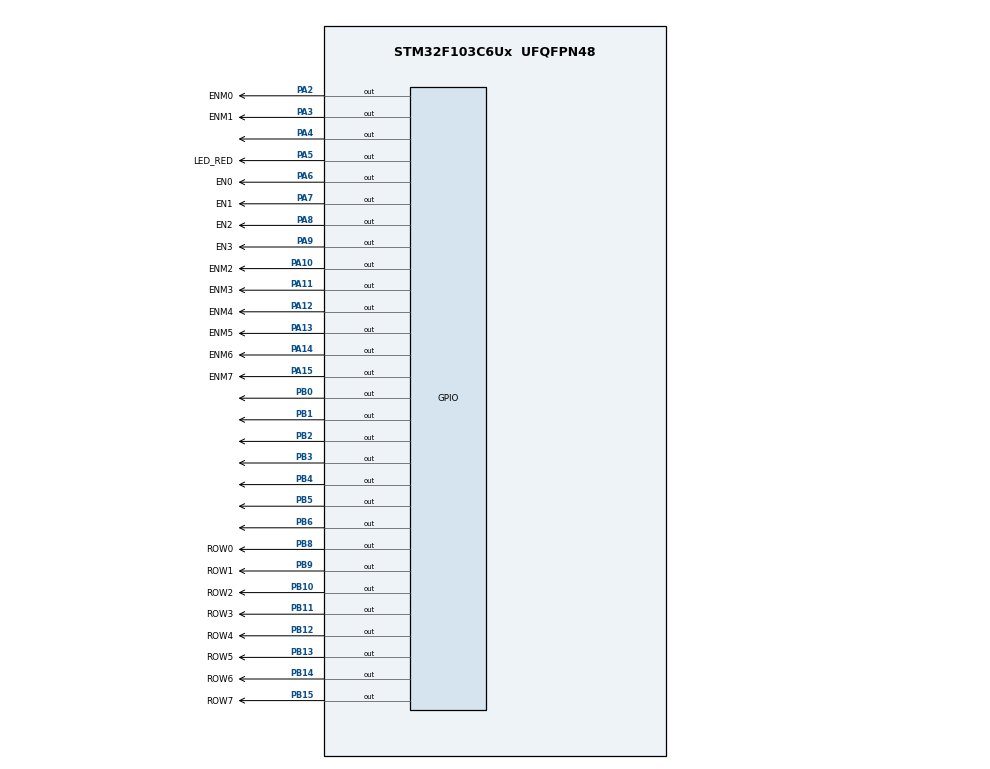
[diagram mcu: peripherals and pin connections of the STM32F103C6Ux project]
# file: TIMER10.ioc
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Mcu.Family=STM32F1
Mcu.Name=STM32F103C6Ux
Mcu.Package=UFQFPN48
NVIC.PriorityGroup=NVIC_PRIORITYGROUP_4
NVIC.TIM2_IRQn=true\:0\:0\:false\:false\:true\:true\:true
PA10.GPIO_Label=ENM2
PA10.Signal=GPIO_Output
PA11.GPIO_Label=ENM3
PA11.Signal=GPIO_Output
PA12.GPIO_Label=ENM4
PA12.Signal=GPIO_Output
PA13.GPIO_Label=ENM5
PA13.Signal=GPIO_Output
PA14.GPIO_Label=ENM6
PA14.Signal=GPIO_Output
PA15.GPIO_Label=ENM7
PA15.Signal=GPIO_Output
PA2.GPIO_Label=ENM0
PA2.Signal=GPIO_Output
PA3.GPIO_Label=ENM1
PA3.Signal=GPIO_Output
PA4.Signal=GPIO_Output
PA5.GPIO_Label=LED_RED
PA5.Signal=GPIO_Output
PA6.GPIO_Label=EN0
PA6.Signal=GPIO_Output
PA7.GPIO_Label=EN1
PA7.Signal=GPIO_Output
PA8.GPIO_Label=EN2
PA8.Signal=GPIO_Output
PA9.GPIO_Label=EN3
PA9.Signal=GPIO_Output
PB0.Signal=GPIO_Output
PB1.Signal=GPIO_Output
PB10.GPIO_Label=ROW2
PB10.Signal=GPIO_Output
PB11.GPIO_Label=ROW3
PB11.Signal=GPIO_Output
PB12.GPIO_Label=ROW4
PB12.Signal=GPIO_Output
PB13.GPIO_Label=ROW5
PB13.Signal=GPIO_Output
PB14.GPIO_Label=ROW6
PB14.Signal=GPIO_Output
PB15.GPIO_Label=ROW7
PB15.Signal=GPIO_Output
PB2.Signal=GPIO_Output
PB3.Signal=GPIO_Output
PB4.Signal=GPIO_Output
PB5.Signal=GPIO_Output
PB6.Signal=GPIO_Output
PB8.GPIO_Label=ROW0
PB8.Signal=GPIO_Output
PB9.GPIO_Label=ROW1
PB9.Signal=GPIO_Output
ProjectManager.HeapSize=0x200
ProjectManager.StackSize=0x400
ProjectManager.TargetToolchain=STM32CubeIDE
RCC.APB1Freq_Value=8000000
RCC.APB2Freq_Value=8000000
TIM2.Period=9
TIM2.Prescaler=7999
VP_SYS_VS_ND.Mode=No_Debug
VP_TIM2_VS_ClockSourceINT.Mode=Internal
board=custom

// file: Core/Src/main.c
/* USER CODE BEGIN Header */
/**
  ******************************************************************************
  * @file           : main.c
  * @brief          : Main program body
  ******************************************************************************
  * @attention
  *
  * Copyright (c) 2025 STMicroelectronics.
  * All rights reserved.
  *
  * This software is licensed under terms that can be found in the LICENSE file
  * in the root directory of this software component.
  * If no LICENSE file comes with this software, it is provided AS-IS.
  *
  ******************************************************************************
  */
/* USER CODE END Header */
#include "main.h"

TIM_HandleTypeDef htim2;

void SystemClock_Config(void);
static void MX_GPIO_Init(void);
static void MX_TIM2_Init(void);

/* USER CODE BEGIN 0 */
void display7SEG(int num) {

    // 0=ON, 1=OFF
    const uint8_t seg_code[10] = {
        0b1000000, // 0
        0b1111001, // 1
        0b0100100, // 2
        0b0110000, // 3
        0b0011001, // 4
        0b0010010, // 5
        0b0000010, // 6
        0b1111000, // 7
        0b0000000, // 8
        0b0010000  // 9
    };

    uint8_t code = seg_code[num];

    HAL_GPIO_WritePin(GPIOB, GPIO_PIN_0, (code & 0x01) ? GPIO_PIN_SET : GPIO_PIN_RESET); // a
    HAL_GPIO_WritePin(GPIOB, GPIO_PIN_1, (code & 0x02) ? GPIO_PIN_SET : GPIO_PIN_RESET); // b
    HAL_GPIO_WritePin(GPIOB, GPIO_PIN_2, (code & 0x04) ? GPIO_PIN_SET : GPIO_PIN_RESET); // c
    HAL_GPIO_WritePin(GPIOB, GPIO_PIN_3, (code & 0x08) ? GPIO_PIN_SET : GPIO_PIN_RESET); // d
    HAL_GPIO_WritePin(GPIOB, GPIO_PIN_4, (code & 0x10) ? GPIO_PIN_SET : GPIO_PIN_RESET); // e
    HAL_GPIO_WritePin(GPIOB, GPIO_PIN_5, (code & 0x20) ? GPIO_PIN_SET : GPIO_PIN_RESET); // f
    HAL_GPIO_WritePin(GPIOB, GPIO_PIN_6, (code & 0x40) ? GPIO_PIN_SET : GPIO_PIN_RESET); // g
}
int counterMatrixLED = 10; // 100 ms = 10*10 ms
int rowMatrixLed = 0;
const int MAX_LED = 4;
int index_led = 0;
int led_buffer[4];  // test values
/* --- Software Timer --- */
int timer0_counter = 0;
int timer0_flag = 0;
int timer1_counter = 0;
int timer1_flag = 0;
int timer2_counter = 0;
int timer2_flag = 0;

const int TIMER_CYCLE = 10;   // matches TIM2 period = 10ms

void setTimer0(int duration){
    timer0_counter = duration / TIMER_CYCLE;
    timer0_flag = 0;
}
void setTimer1(int duration){
    timer1_counter = duration / TIMER_CYCLE;
    timer1_flag = 0;
}
void setTimer2(int duration){
    timer2_counter = duration / TIMER_CYCLE;
    timer2_flag = 0;
}
void timer_run(){
    if(timer0_counter > 0){
        timer0_counter--;
        if(timer0_counter == 0) timer0_flag = 1;
    }
    if(timer1_counter > 0){
            timer1_counter--;
            if(timer1_counter == 0) timer1_flag = 1;
        }
    if(timer2_counter > 0){
                timer2_counter--;
                if(timer2_counter == 0) timer2_flag = 1;
            }
}
/* This function enables one digit and displays its number */

void update7SEG(int index){
    // Turn OFF all digits first (active LOW for PNP)
    HAL_GPIO_WritePin(GPIOA, EN0_Pin|EN1_Pin|EN2_Pin|EN3_Pin, GPIO_PIN_SET);

    switch (index){
    case 0:
        HAL_GPIO_WritePin(GPIOA, EN0_Pin, GPIO_PIN_RESET);  // Enable digit 1
        display7SEG(led_buffer[0]);                         // Show value
        break;
    case 1:
        HAL_GPIO_WritePin(GPIOA, EN1_Pin, GPIO_PIN_RESET);  // Enable digit 2
        display7SEG(led_buffer[1]);
        break;
    case 2:
        HAL_GPIO_WritePin(GPIOA, EN2_Pin, GPIO_PIN_RESET);  // Enable digit 3
        display7SEG(led_buffer[2]);
        break;
    case 3:
        HAL_GPIO_WritePin(GPIOA, EN3_Pin, GPIO_PIN_RESET);  // Enable digit 4
        display7SEG(led_buffer[3]);
        break;
    default:
        break;
    }
}
void updateClockBuffer(int hour, int minute){
    led_buffer[0] = hour / 10;   // tens of hour
    led_buffer[1] = hour % 10;   // ones of hour
    led_buffer[2] = minute / 10; // tens of minute
    led_buffer[3] = minute % 10; // ones of minute
}
int scroll_index = 0;
uint8_t scroll_data[16] = {
		0x00,0x00,0xFC,0x32,0x32,0xFC,0x00,0x00,0x00,0x00,0x00,0x00,0x00,0x00,0x00,0x00
};

//uint8_t matrix_buffer[8] = {
//		0x00,0x00,0xFC,0x32,0x32,0xFC,0x00,0x00};
uint8_t matrix_buffer[8];
void updateLEDMatrix(int index) {
    HAL_GPIO_WritePin(GPIOA, ENM0_Pin|ENM1_Pin|ENM2_Pin|ENM3_Pin|
                              ENM4_Pin|ENM5_Pin|ENM6_Pin|ENM7_Pin,
                              GPIO_PIN_SET);
    uint8_t rowData = matrix_buffer[index];
    HAL_GPIO_WritePin(ROW0_GPIO_Port, ROW0_Pin, (rowData & 0x01) ? GPIO_PIN_RESET : GPIO_PIN_SET);
    HAL_GPIO_WritePin(ROW1_GPIO_Port, ROW1_Pin, (rowData & 0x02) ? GPIO_PIN_RESET : GPIO_PIN_SET);
    HAL_GPIO_WritePin(ROW2_GPIO_Port, ROW2_Pin, (rowData & 0x04) ? GPIO_PIN_RESET : GPIO_PIN_SET);
    HAL_GPIO_WritePin(ROW3_GPIO_Port, ROW3_Pin, (rowData & 0x08) ? GPIO_PIN_RESET : GPIO_PIN_SET);
    HAL_GPIO_WritePin(ROW4_GPIO_Port, ROW4_Pin, (rowData & 0x10) ? GPIO_PIN_RESET : GPIO_PIN_SET);
    HAL_GPIO_WritePin(ROW5_GPIO_Port, ROW5_Pin, (rowData & 0x20) ? GPIO_PIN_RESET : GPIO_PIN_SET);
    HAL_GPIO_WritePin(ROW6_GPIO_Port, ROW6_Pin, (rowData & 0x40) ? GPIO_PIN_RESET : GPIO_PIN_SET);
    HAL_GPIO_WritePin(ROW7_GPIO_Port, ROW7_Pin, (rowData & 0x80) ? GPIO_PIN_RESET : GPIO_PIN_SET);
    switch(index) {
        case 0: HAL_GPIO_WritePin(GPIOA, ENM0_Pin, GPIO_PIN_RESET); break;
        case 1: HAL_GPIO_WritePin(GPIOA, ENM1_Pin, GPIO_PIN_RESET); break;
        case 2: HAL_GPIO_WritePin(GPIOA, ENM2_Pin, GPIO_PIN_RESET); break;
        case 3: HAL_GPIO_WritePin(GPIOA, ENM3_Pin, GPIO_PIN_RESET); break;
        case 4: HAL_GPIO_WritePin(GPIOA, ENM4_Pin, GPIO_PIN_RESET); break;
        case 5: HAL_GPIO_WritePin(GPIOA, ENM5_Pin, GPIO_PIN_RESET); break;
        case 6: HAL_GPIO_WritePin(GPIOA, ENM6_Pin, GPIO_PIN_RESET); break;
        case 7: HAL_GPIO_WritePin(GPIOA, ENM7_Pin, GPIO_PIN_RESET); break;
    }
}
void shiftMatrixLeft(void) {
    for (int i = 0; i < 8; i++) {
        // copy 8 columns from scroll_data
        int pos = (scroll_index + i) % 16; // loop over 16
        matrix_buffer[i] = scroll_data[pos];
    }

    scroll_index++;
    if (scroll_index >= 16) scroll_index = 0; // restart
}

/* USER CODE END 0 */

int main(void)
{

  /* MCU Configuration--------------------------------------------------------*/

  /* Reset of all peripherals, Initializes the Flash interface and the Systick. */
  HAL_Init();

  /* Configure the system clock */
  SystemClock_Config();

  /* Initialize all configured peripherals */
  MX_GPIO_Init();
  MX_TIM2_Init();
  /* USER CODE BEGIN 2 */
  HAL_TIM_Base_Start_IT (& htim2);
    setTimer0(1000);
    setTimer1(250);
    setTimer2(50);
  /* USER CODE END 2 */

  /* Infinite loop */
  /* USER CODE BEGIN WHILE */
    int hour = 15, minute = 59, second = 58;
    updateClockBuffer(hour,minute);
    setTimer0(1000);
  while (1)
  {
	  if(timer1_flag == 1){
	  	  	 	       	  	  	 	  	 	          timer1_flag = 0;
	  	  	 	       	  	  	 	  	 	          setTimer1(250);

	  	  	 	       	  	  	 	  	 	          update7SEG(index_led);
	  	  	 	       	  	  	 	  	 	          index_led++;
	  	  	 	       	  	  	 	  	 	          if(index_led >= 4) index_led = 0;
	  	  	 	       	  	  	 	  	 	      }

	  if(timer0_flag == 1){    // 1 second passed
	  	 	          timer0_flag = 0;
	  	 	          setTimer0(1000);     // reload 1s

	  	 	          second++;
	  	 	          if (second >= 60) {
	  	 	              second = 0;
	  	 	              minute++;
	  	 	          }
	  	 	          if (minute >= 60) {
	  	 	              minute = 0;
	  	 	              hour++;
	  	 	          }
	  	 	          if (hour >= 24) {
	  	 	              hour = 0;
	  	 	          }

	  	 	          updateClockBuffer(hour,minute);   // refresh led_buffer
	  	 	          HAL_GPIO_TogglePin(GPIOA, GPIO_PIN_4);

	  	 	      }

	  	 	 if(timer2_flag == 1) {
	  	 	     updateLEDMatrix(rowMatrixLed);
	  	 	     rowMatrixLed++;
	  	 	     if(rowMatrixLed >= 8) rowMatrixLed = 0;
	  	 	    timer2_flag = 0;
	  	 	 }
    /* USER CODE END WHILE */

  }
}

void SystemClock_Config(void)
{
  RCC_OscInitTypeDef RCC_OscInitStruct = {0};
  RCC_ClkInitTypeDef RCC_ClkInitStruct = {0};

  /** Initializes the RCC Oscillators according to the specified parameters
  * in the RCC_OscInitTypeDef structure.
  */
  RCC_OscInitStruct.OscillatorType = RCC_OSCILLATORTYPE_HSI;
  RCC_OscInitStruct.HSIState = RCC_HSI_ON;
  RCC_OscInitStruct.HSICalibrationValue = RCC_HSICALIBRATION_DEFAULT;
  RCC_OscInitStruct.PLL.PLLState = RCC_PLL_NONE;
  if (HAL_RCC_OscConfig(&RCC_OscInitStruct) != HAL_OK)
  {
    Error_Handler();
  }
  /** Initializes the CPU, AHB and APB buses clocks
  */
  RCC_ClkInitStruct.ClockType = RCC_CLOCKTYPE_HCLK|RCC_CLOCKTYPE_SYSCLK
                              |RCC_CLOCKTYPE_PCLK1|RCC_CLOCKTYPE_PCLK2;
  RCC_ClkInitStruct.SYSCLKSource = RCC_SYSCLKSOURCE_HSI;
  RCC_ClkInitStruct.AHBCLKDivider = RCC_SYSCLK_DIV1;
  RCC_ClkInitStruct.APB1CLKDivider = RCC_HCLK_DIV1;
  RCC_ClkInitStruct.APB2CLKDivider = RCC_HCLK_DIV1;

  if (HAL_RCC_ClockConfig(&RCC_ClkInitStruct, FLASH_LATENCY_0) != HAL_OK)
  {
    Error_Handler();
  }
}

static void MX_TIM2_Init(void)
{

  TIM_ClockConfigTypeDef sClockSourceConfig = {0};
  TIM_MasterConfigTypeDef sMasterConfig = {0};

  htim2.Instance = TIM2;
  htim2.Init.Prescaler = 7999;
  htim2.Init.CounterMode = TIM_COUNTERMODE_UP;
  htim2.Init.Period = 9;
  htim2.Init.ClockDivision = TIM_CLOCKDIVISION_DIV1;
  htim2.Init.AutoReloadPreload = TIM_AUTORELOAD_PRELOAD_DISABLE;
  if (HAL_TIM_Base_Init(&htim2) != HAL_OK)
  {
    Error_Handler();
  }
  sClockSourceConfig.ClockSource = TIM_CLOCKSOURCE_INTERNAL;
  if (HAL_TIM_ConfigClockSource(&htim2, &sClockSourceConfig) != HAL_OK)
  {
    Error_Handler();
  }
  sMasterConfig.MasterOutputTrigger = TIM_TRGO_RESET;
  sMasterConfig.MasterSlaveMode = TIM_MASTERSLAVEMODE_DISABLE;
  if (HAL_TIMEx_MasterConfigSynchronization(&htim2, &sMasterConfig) != HAL_OK)
  {
    Error_Handler();
  }

}

static void MX_GPIO_Init(void)
{
  GPIO_InitTypeDef GPIO_InitStruct = {0};

  /* GPIO Ports Clock Enable */
  __HAL_RCC_GPIOA_CLK_ENABLE();
  __HAL_RCC_GPIOB_CLK_ENABLE();

  /*Configure GPIO pin Output Level */
  HAL_GPIO_WritePin(GPIOA, ENM0_Pin|ENM1_Pin|GPIO_PIN_4|LED_RED_Pin
                          |EN0_Pin|EN1_Pin|EN2_Pin|EN3_Pin
                          |ENM2_Pin|ENM3_Pin|ENM4_Pin|ENM5_Pin
                          |ENM6_Pin|ENM7_Pin, GPIO_PIN_RESET);

  /*Configure GPIO pin Output Level */
  HAL_GPIO_WritePin(GPIOB, GPIO_PIN_0|GPIO_PIN_1|GPIO_PIN_2|ROW2_Pin
                          |ROW3_Pin|ROW4_Pin|ROW5_Pin|ROW6_Pin
                          |ROW7_Pin|GPIO_PIN_3|GPIO_PIN_4|GPIO_PIN_5
                          |GPIO_PIN_6|ROW0_Pin|ROW1_Pin, GPIO_PIN_RESET);

  /*Configure GPIO pins : ENM0_Pin ENM1_Pin PA4 LED_RED_Pin
                           EN0_Pin EN1_Pin EN2_Pin EN3_Pin
                           ENM2_Pin ENM3_Pin ENM4_Pin ENM5_Pin
                           ENM6_Pin ENM7_Pin */
  GPIO_InitStruct.Pin = ENM0_Pin|ENM1_Pin|GPIO_PIN_4|LED_RED_Pin
                          |EN0_Pin|EN1_Pin|EN2_Pin|EN3_Pin
                          |ENM2_Pin|ENM3_Pin|ENM4_Pin|ENM5_Pin
                          |ENM6_Pin|ENM7_Pin;
  GPIO_InitStruct.Mode = GPIO_MODE_OUTPUT_PP;
  GPIO_InitStruct.Pull = GPIO_NOPULL;
  GPIO_InitStruct.Speed = GPIO_SPEED_FREQ_LOW;
  HAL_GPIO_Init(GPIOA, &GPIO_InitStruct);

  /*Configure GPIO pins : PB0 PB1 PB2 ROW2_Pin
                           ROW3_Pin ROW4_Pin ROW5_Pin ROW6_Pin
                           ROW7_Pin PB3 PB4 PB5
                           PB6 ROW0_Pin ROW1_Pin */
  GPIO_InitStruct.Pin = GPIO_PIN_0|GPIO_PIN_1|GPIO_PIN_2|ROW2_Pin
                          |ROW3_Pin|ROW4_Pin|ROW5_Pin|ROW6_Pin
                          |ROW7_Pin|GPIO_PIN_3|GPIO_PIN_4|GPIO_PIN_5
                          |GPIO_PIN_6|ROW0_Pin|ROW1_Pin;
  GPIO_InitStruct.Mode = GPIO_MODE_OUTPUT_PP;
  GPIO_InitStruct.Pull = GPIO_NOPULL;
  GPIO_InitStruct.Speed = GPIO_SPEED_FREQ_LOW;
  HAL_GPIO_Init(GPIOB, &GPIO_InitStruct);

}

/* USER CODE BEGIN 4 */
int counter = 0;
int digitCounter = 0;
void HAL_TIM_PeriodElapsedCallback(TIM_HandleTypeDef *htim){
	if (htim->Instance == TIM2){
		timer_run();
		counter++;
		if (counter >= 100){
			counter = 0;
			HAL_GPIO_TogglePin(GPIOA, GPIO_PIN_5);

		}
//		digitCounter++;
//		if (digitCounter >= 25){
//			digitCounter = 0;
//			update7SEG(index_led);
//			index_led++;
//			if(index_led>=4) index_led = 0;
//		}
		if (timer2_flag) {
		        timer2_flag = 0;
		        setTimer2(50);
		        updateLEDMatrix(rowMatrixLed);
		        rowMatrixLed = (rowMatrixLed + 1) % 8;
		    }
		static int scroll_timer = 0;
		    scroll_timer++;
		    if (scroll_timer >= 20) {  // 20 × 10ms = 200ms
		        scroll_timer = 0;
		        shiftMatrixLeft();
		    }
	}
}
/* USER CODE END 4 */

void Error_Handler(void)
{
  __disable_irq();
  while (1)
  {
  }
}

/************************ (C) COPYRIGHT STMicroelectronics *****END OF FILE****/
